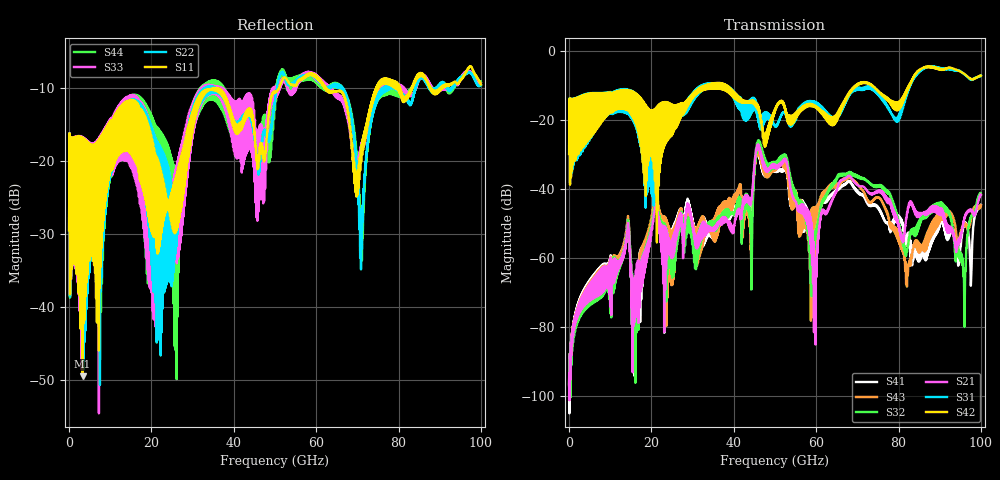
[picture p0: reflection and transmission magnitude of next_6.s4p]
# Hz S RI R 50
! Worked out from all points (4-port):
!   10000 points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, 10 MHz to 100 GHz, reference 50 ohm
!   strongest paths, dB at 10 MHz, 25.01 GHz, 50.01 GHz, 75.01 GHz, 100 GHz:
!     S42: -29.9, -15.8, -16.8, -11.6, -7.2
!     S31: -29.9, -18.2, -21.7, -12.7, -7.2
!     S21: -96.7, -58.5, -33.2, -40.7, -41.8
!     S32: -96.3, -59.5, -32.9, -39.4, -41.5
!     S43: -96.7, -55.4, -32.6, -42.5, -44.7
!     S41: -97.2, -55.9, -33.4, -45.2, -44.6
!   lowest |S11| = -49.5 dB at 3.27 GHz (marker M1), VSWR 1.01, Z = 50.2 + j0.295 ohm
!   |S11| at or under -10 dB: start of sweep to 35.62 GHz; 35.62 GHz to 50.97 GHz (15.35 GHz wide, 35.5 % of centre); 62.26 GHz to 74.55 GHz (12.29 GHz wide, 18 % of centre)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
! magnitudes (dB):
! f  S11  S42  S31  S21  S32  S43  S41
! 10 MHz  -29.5  -29.9  -29.9  -96.7  -96.3  -96.7  -97.2
! 3.27 GHz  -49.5  -24.8  -22.5  -72.4  -73.2  -71.9  -71.2
! 46.09 GHz  -19.2  -17.9  -18.9  -27.4  -26.1  -28.1  -29.7
! 59.69 GHz  -8.4  -16.2  -15.7  -71.4  -52.7  -47.5  -58.6
! 67.71 GHz  -13.5  -12.6  -13.4  -36.3  -35.7  -36.9  -37.8
! 95.87 GHz  -8.3  -6.6  -6.7  -49.4  -65.0  -50.0  -50.8
! 100 GHz  -9.5  -7.2  -7.2  -41.8  -41.5  -44.7  -44.6
